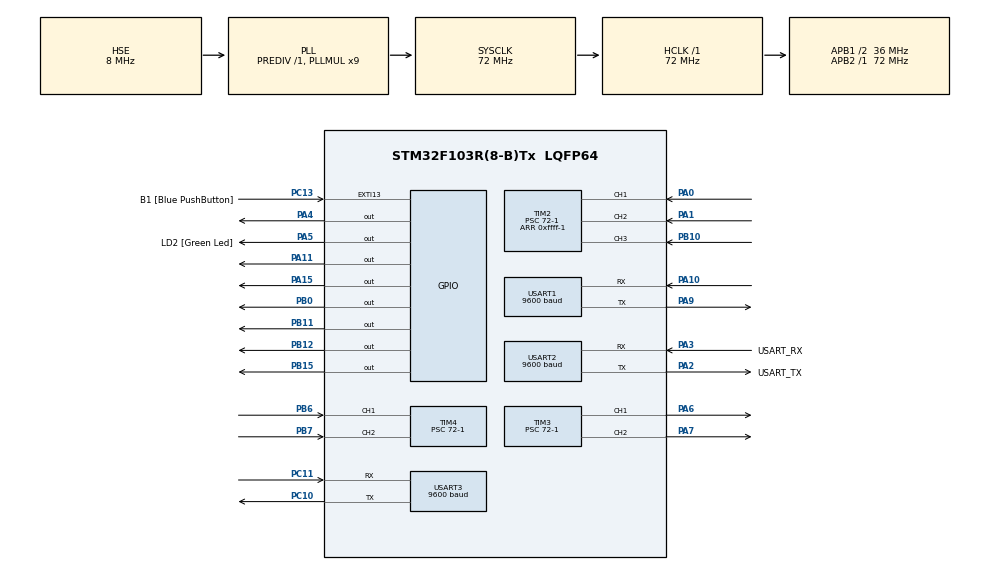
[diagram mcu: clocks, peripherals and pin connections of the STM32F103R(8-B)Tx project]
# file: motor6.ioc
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Mcu.Family=STM32F1
Mcu.Name=STM32F103R(8-B)Tx
Mcu.Package=LQFP64
NVIC.EXTI15_10_IRQn=true\:0\:0\:false\:false\:true\:true\:true\:true
NVIC.PriorityGroup=NVIC_PRIORITYGROUP_4
NVIC.TIM1_UP_IRQn=true\:0\:0\:false\:false\:true\:true\:true\:true
NVIC.TIM2_IRQn=true\:0\:0\:false\:false\:true\:true\:true\:true
NVIC.TIM4_IRQn=true\:0\:0\:false\:false\:true\:true\:true\:true
NVIC.USART1_IRQn=true\:0\:0\:false\:false\:true\:true\:true\:true
NVIC.USART2_IRQn=true\:0\:0\:false\:false\:true\:true\:true\:true
NVIC.USART3_IRQn=true\:0\:0\:false\:false\:true\:true\:true\:true
PA0-WKUP.Signal=S_TIM2_CH1_ETR
PA1.Signal=S_TIM2_CH2
PA10.Mode=Asynchronous
PA10.Signal=USART1_RX
PA11.Signal=GPIO_Output
PA13.GPIO_Label=TMS
PA13.Mode=Serial_Wire
PA13.Signal=SYS_JTMS-SWDIO
PA14.GPIO_Label=TCK
PA14.Mode=Serial_Wire
PA14.Signal=SYS_JTCK-SWCLK
PA15.Signal=GPIO_Output
PA2.GPIO_Label=USART_TX
PA2.GPIO_Mode=GPIO_MODE_AF_PP
PA2.GPIO_PuPd=GPIO_NOPULL
PA2.GPIO_Speed=GPIO_SPEED_FREQ_LOW
PA2.Mode=Asynchronous
PA2.Signal=USART2_TX
PA3.GPIO_Label=USART_RX
PA3.GPIO_Mode=GPIO_MODE_AF_PP
PA3.GPIO_PuPd=GPIO_NOPULL
PA3.GPIO_Speed=GPIO_SPEED_FREQ_LOW
PA3.Mode=Asynchronous
PA3.Signal=USART2_RX
PA4.Signal=GPIO_Output
PA5.GPIO_Label=LD2 [Green Led]
PA5.GPIO_ModeDefaultOutputPP=GPIO_MODE_OUTPUT_PP
PA5.GPIO_PuPd=GPIO_NOPULL
PA5.GPIO_Speed=GPIO_SPEED_FREQ_LOW
PA5.Signal=GPIO_Output
PA6.Signal=S_TIM3_CH1
PA7.Signal=S_TIM3_CH2
PA9.Mode=Asynchronous
PA9.Signal=USART1_TX
PB0.Signal=GPIO_Output
PB10.Signal=S_TIM2_CH3
PB11.Signal=GPIO_Output
PB12.Signal=GPIO_Output
PB15.Signal=GPIO_Output
PB3.GPIO_Label=SWO
PB3.Signal=SYS_JTDO-TRACESWO
PB6.Signal=S_TIM4_CH1
PB7.Signal=S_TIM4_CH2
PC10.Mode=Asynchronous
PC10.Signal=USART3_TX
PC11.Mode=Asynchronous
PC11.Signal=USART3_RX
PC13-TAMPER-RTC.GPIO_Label=B1 [Blue PushButton]
PC13-TAMPER-RTC.GPIO_PuPd=GPIO_NOPULL
PC13-TAMPER-RTC.Signal=GPXTI13
PC14-OSC32_IN.Mode=LSE-External-Oscillator
PC14-OSC32_IN.Signal=RCC_OSC32_IN
PC15-OSC32_OUT.Mode=LSE-External-Oscillator
PC15-OSC32_OUT.Signal=RCC_OSC32_OUT
PD0-OSC_IN.Mode=HSE-External-Clock-Source
PD0-OSC_IN.Signal=RCC_OSC_IN
PD1-OSC_OUT.Mode=HSE-External-Clock-Source
PD1-OSC_OUT.Signal=RCC_OSC_OUT
ProjectManager.HeapSize=0x200
ProjectManager.StackSize=0x400
ProjectManager.TargetToolchain=STM32CubeIDE
RCC.AHBFreq_Value=72000000
RCC.APB1CLKDivider=RCC_HCLK_DIV2
RCC.APB1Freq_Value=36000000
RCC.APB1TimFreq_Value=72000000
RCC.APB2Freq_Value=72000000
RCC.APB2TimFreq_Value=72000000
RCC.HCLKFreq_Value=72000000
RCC.PLLMUL=RCC_PLL_MUL9
RCC.PLLSourceVirtual=RCC_PLLSOURCE_HSE
RCC.RTCClockSelection=RCC_RTCCLKSOURCE_LSE
RCC.SYSCLKFreq_VALUE=72000000
RCC.SYSCLKSource=RCC_SYSCLKSOURCE_PLLCLK
RCC.USBFreq_Value=72000000
SH.S_TIM2_CH1_ETR.0=TIM2_CH1,Input_Capture1_from_TI1
SH.S_TIM2_CH2.0=TIM2_CH2,Input_Capture2_from_TI2
SH.S_TIM2_CH3.0=TIM2_CH3,Input_Capture3_from_TI3
SH.S_TIM3_CH1.0=TIM3_CH1,PWM Generation1 CH1
SH.S_TIM3_CH2.0=TIM3_CH2,PWM Generation2 CH2
SH.S_TIM4_CH1.0=TIM4_CH1,Input_Capture1_from_TI1
SH.S_TIM4_CH2.0=TIM4_CH2,Input_Capture2_from_TI2
TIM1.Period=100-1
TIM1.Prescaler=72-1
TIM2.Channel-Input_Capture1_from_TI1=TIM_CHANNEL_1
TIM2.Channel-Input_Capture2_from_TI2=TIM_CHANNEL_2
TIM2.Channel-Input_Capture3_from_TI3=TIM_CHANNEL_3
TIM2.Period=0xffff-1
TIM2.Prescaler=72-1
TIM3.Channel-PWM\ Generation1\ CH1=TIM_CHANNEL_1
TIM3.Channel-PWM\ Generation2\ CH2=TIM_CHANNEL_2
TIM3.Period=100-1
TIM3.Prescaler=72-1
TIM4.Channel-Input_Capture1_from_TI1=TIM_CHANNEL_1
TIM4.Channel-Input_Capture2_from_TI2=TIM_CHANNEL_2
TIM4.Period=0xffff-1
TIM4.Prescaler=72-1
USART1.BaudRate=9600
USART1.VirtualMode=VM_ASYNC
USART2.BaudRate=9600
USART2.VirtualMode=VM_ASYNC
USART3.BaudRate=9600
USART3.VirtualMode=VM_ASYNC
VP_TIM1_VS_ClockSourceINT.Mode=Internal
VP_TIM2_VS_ClockSourceINT.Mode=Internal
VP_TIM3_VS_ClockSourceINT.Mode=Internal
VP_TIM4_VS_ClockSourceINT.Mode=Internal
board=NUCLEO-F103RB

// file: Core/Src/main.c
/* USER CODE BEGIN Header */
/**
  ******************************************************************************
  * @file           : main.c
  * @brief          : Main program body
  ******************************************************************************
  * @attention
  *
  * Copyright (c) 2025 STMicroelectronics.
  * All rights reserved.
  *
  * This software is licensed under terms that can be found in the LICENSE file
  * in the root directory of this software component.
  * If no LICENSE file comes with this software, it is provided AS-IS.
  *
  ******************************************************************************
  */
/* USER CODE END Header */
#include "main.h"
#include "tim.h"
#include "usart.h"
#include "gpio.h"

/* USER CODE BEGIN PV */
uint32_t IC_Val1 = 0;
uint32_t IC_Val2 = 0;
uint32_t IC_Val3 = 0;
uint32_t IC_Val4 = 0;
uint32_t IC_Val5 = 0;
uint32_t IC_Val6 = 0;
uint32_t IC_Val7 = 0;
uint32_t IC_Val8 = 0;
uint32_t IC_Val9 = 0;
uint32_t IC_Val10 = 0;
uint32_t Difference1 = 0;
uint32_t Difference2 = 0;
uint32_t Difference3 = 0;
uint32_t Difference4 = 0;
uint32_t Difference5 = 0;
uint8_t Is_First_Captured1 = 0;
uint8_t Is_First_Captured2 = 0;
uint8_t Is_First_Captured3 = 0;
uint8_t Is_First_Captured4 = 0;
uint8_t Is_First_Captured5 = 0;
uint16_t Distance1  = 0;
uint16_t Distance2 = 0;
uint16_t Distance3 = 0;
uint16_t Distance4 = 0;
uint16_t Distance5 = 0;

uint8_t sensor_part1 = 0;
uint8_t sensor_part2 = 0;
uint8_t sensor_part3 = 0;
uint8_t sensor_part4 = 0;
uint8_t sensor_part5 = 0;
uint32_t delay_count = 0;
uint32_t ultra_count = 0;
uint8_t ultra_delay1 = 0;
uint8_t ultra_delay2 = 0;
uint8_t ultra_delay3 = 0;
uint8_t ultra_delay4 = 0;
uint8_t ultra_delay5 = 0;

char uart_buf[8];
char re_data[8];
char uwb_buf[4];
char fe_data[5];
float uwb_data;
int x_data, y_data;
float w_L, w_R;
uint32_t PWM1_value, PWM2_value;

double dis_test;

float r = 0.0575;
float b = 0.257;
float dis, theta, V, W;
float K_v = 2;
float K_w = 2;

#define PI 3.1415926535

#define RX_BUF_SIZE 16

uint8_t rx_byte;
char rx_buf[5];
uint8_t rx_index = 0;
volatile uint8_t rx_flag = 0;
int rx_theta;
/* USER CODE END PV */

void SystemClock_Config(void);

/* USER CODE BEGIN 0 */
void HAL_TIM_PeriodElapsedCallback(TIM_HandleTypeDef *htim) {
	if (htim->Instance == TIM1) {
		if (ultra_delay1 == 1) {
			if (ultra_count >= 10) {
				HAL_GPIO_WritePin(GPIOA, GPIO_PIN_4, GPIO_PIN_RESET);
				__HAL_TIM_ENABLE_IT(&htim2, TIM_IT_CC1);
				ultra_count = 0;
				ultra_delay1 = 0;
			}
			else {
				ultra_count++;
			}
		}
		else if (ultra_delay2 == 1) {
			if (ultra_count >= 10) {
				HAL_GPIO_WritePin(GPIOB, GPIO_PIN_0, GPIO_PIN_RESET);
				__HAL_TIM_ENABLE_IT(&htim2, TIM_IT_CC2);
				ultra_count = 0;
				ultra_delay2 = 0;
			}
			else {
				ultra_count++;
			}
		}
		else if (ultra_delay3 == 1) {
			if (ultra_count >= 10) {
				HAL_GPIO_WritePin(GPIOB, GPIO_PIN_15, GPIO_PIN_RESET);
				__HAL_TIM_ENABLE_IT(&htim2, TIM_IT_CC3);
				ultra_count = 0;
				ultra_delay3 = 0;
			}
			else {
				ultra_count++;
			}
		}
		else if (ultra_delay4 == 1) {
			if (ultra_count >= 10) {
				HAL_GPIO_WritePin(GPIOB, GPIO_PIN_11, GPIO_PIN_RESET);
				__HAL_TIM_ENABLE_IT(&htim4, TIM_IT_CC1);
				ultra_count = 0;
				ultra_delay4 = 0;
			}
			else {
				ultra_count++;
			}
		}
		else if (ultra_delay5 == 1) {
			if (ultra_count >= 10) {
				HAL_GPIO_WritePin(GPIOA, GPIO_PIN_15, GPIO_PIN_RESET);
				__HAL_TIM_ENABLE_IT(&htim4, TIM_IT_CC2);
				ultra_count = 0;
				ultra_delay5 = 0;
			}
			else {
				ultra_count++;
			}
		}
		else if (sensor_part2 == 1) {
			delay_count++;
		}
		else if (sensor_part1 == 1) {
			delay_count++;
		}
		else if (sensor_part3 == 1) {
			delay_count++;
		}
		else if (sensor_part4 == 1) {
			delay_count++;
		}
		else if (sensor_part5 == 1) {
			delay_count++;
		}
	}
}

void HAL_TIM_IC_CaptureCallback(TIM_HandleTypeDef *htim)
{
	if (htim->Instance == TIM2) {
		if (htim->Channel == HAL_TIM_ACTIVE_CHANNEL_1)
		{
			if (Is_First_Captured1==0)
			{
				IC_Val1 = HAL_TIM_ReadCapturedValue(htim, TIM_CHANNEL_1);
				Is_First_Captured1 = 1;

				__HAL_TIM_SET_CAPTUREPOLARITY(htim, TIM_CHANNEL_1, TIM_INPUTCHANNELPOLARITY_FALLING);
			}

			else if (Is_First_Captured1==1)
			{
				IC_Val2 = HAL_TIM_ReadCapturedValue(htim, TIM_CHANNEL_1);
				__HAL_TIM_SET_COUNTER(htim, 0);

				if (IC_Val2 > IC_Val1)
				{
					Difference1 = IC_Val2-IC_Val1;
				}

				else if (IC_Val1 > IC_Val2)
				{
					Difference1 = (0xffff - IC_Val1) + IC_Val2;
				}

				Distance1 = Difference1 * .034/2;
				Is_First_Captured1 = 0;

				__HAL_TIM_SET_CAPTUREPOLARITY(htim, TIM_CHANNEL_1, TIM_INPUTCHANNELPOLARITY_RISING);
				__HAL_TIM_DISABLE_IT(&htim2, TIM_IT_CC1);
			}
		}

		if (htim->Channel == HAL_TIM_ACTIVE_CHANNEL_2)
		{
			if (Is_First_Captured2==0)
			{
				IC_Val3 = HAL_TIM_ReadCapturedValue(htim, TIM_CHANNEL_2);
				Is_First_Captured2 = 1;

				__HAL_TIM_SET_CAPTUREPOLARITY(htim, TIM_CHANNEL_2, TIM_INPUTCHANNELPOLARITY_FALLING);
			}

			else if (Is_First_Captured2==1)
			{
				IC_Val4 = HAL_TIM_ReadCapturedValue(htim, TIM_CHANNEL_2);
				__HAL_TIM_SET_COUNTER(htim, 0);

				if (IC_Val4 > IC_Val3)
				{
					Difference2 = IC_Val4 - IC_Val3;
				}

				else if (IC_Val3 > IC_Val4)
				{
					Difference2 = (0xffff - IC_Val3) + IC_Val4;
				}

				Distance2 = Difference2 * .034/2;
				Is_First_Captured2 = 0;

				__HAL_TIM_SET_CAPTUREPOLARITY(htim, TIM_CHANNEL_2, TIM_INPUTCHANNELPOLARITY_RISING);
				__HAL_TIM_DISABLE_IT(&htim2, TIM_IT_CC2);
			}
		}

		if (htim->Channel == HAL_TIM_ACTIVE_CHANNEL_3)
		{
			if (Is_First_Captured3==0)
			{
				IC_Val5 = HAL_TIM_ReadCapturedValue(htim, TIM_CHANNEL_3);
				Is_First_Captured3 = 1;

				__HAL_TIM_SET_CAPTUREPOLARITY(htim, TIM_CHANNEL_3, TIM_INPUTCHANNELPOLARITY_FALLING);
			}

			else if (Is_First_Captured3==1)
			{
				IC_Val6 = HAL_TIM_ReadCapturedValue(htim, TIM_CHANNEL_3);
				__HAL_TIM_SET_COUNTER(htim, 0);

				if (IC_Val6 > IC_Val5)
				{
					Difference3 = IC_Val6 - IC_Val5;
				}

				else if (IC_Val5 > IC_Val6)
				{
					Difference3 = (0xffff - IC_Val5) + IC_Val6;
				}

				Distance3 = Difference3 * .034/2;
				Is_First_Captured3 = 0;

				__HAL_TIM_SET_CAPTUREPOLARITY(htim, TIM_CHANNEL_3, TIM_INPUTCHANNELPOLARITY_RISING);
				__HAL_TIM_DISABLE_IT(&htim2, TIM_IT_CC3);
			}
		}
	}
	else if (htim->Instance == TIM4) {
		if (htim->Channel == HAL_TIM_ACTIVE_CHANNEL_1)
		{
			if (Is_First_Captured4==0)
			{
				IC_Val7 = HAL_TIM_ReadCapturedValue(htim, TIM_CHANNEL_1);
				Is_First_Captured4 = 1;

				__HAL_TIM_SET_CAPTUREPOLARITY(htim, TIM_CHANNEL_1, TIM_INPUTCHANNELPOLARITY_FALLING);
			}

			else if (Is_First_Captured4==1)
			{
				IC_Val8 = HAL_TIM_ReadCapturedValue(htim, TIM_CHANNEL_1);
				__HAL_TIM_SET_COUNTER(htim, 0);

				if (IC_Val8 > IC_Val7)
				{
					Difference4 = IC_Val8 - IC_Val7;
				}

				else if (IC_Val7 > IC_Val8)
				{
					Difference4 = (0xffff - IC_Val7) + IC_Val8;
				}

				Distance4 = Difference4 * .034/2;
				Is_First_Captured4 = 0;

				__HAL_TIM_SET_CAPTUREPOLARITY(htim, TIM_CHANNEL_1, TIM_INPUTCHANNELPOLARITY_RISING);
				__HAL_TIM_DISABLE_IT(&htim4, TIM_IT_CC1);
			}
		}

		if (htim->Channel == HAL_TIM_ACTIVE_CHANNEL_2)
		{
			if (Is_First_Captured5==0)
			{
				IC_Val9 = HAL_TIM_ReadCapturedValue(htim, TIM_CHANNEL_2);
				Is_First_Captured5 = 1;

				__HAL_TIM_SET_CAPTUREPOLARITY(htim, TIM_CHANNEL_2, TIM_INPUTCHANNELPOLARITY_FALLING);
			}

			else if (Is_First_Captured5==1)
			{
				IC_Val10 = HAL_TIM_ReadCapturedValue(htim, TIM_CHANNEL_2);
				__HAL_TIM_SET_COUNTER(htim, 0);

				if (IC_Val10 > IC_Val9)
				{
					Difference5 = IC_Val10 - IC_Val9;
				}

				else if (IC_Val9 > IC_Val10)
				{
					Difference5 = (0xffff - IC_Val9) + IC_Val10;
				}

				Distance5 = Difference5 * .034/2;
				Is_First_Captured5 = 0;

				__HAL_TIM_SET_CAPTUREPOLARITY(htim, TIM_CHANNEL_2, TIM_INPUTCHANNELPOLARITY_RISING);
				__HAL_TIM_DISABLE_IT(&htim4, TIM_IT_CC2);
			}
		}
	}
}

void HAL_UART_RxCpltCallback(UART_HandleTypeDef *huart) {
	if (huart -> Instance == USART1) {
		for (int i = 0; i < 4; i++) {
			if (uwb_buf[(i + 1) % 4] == '.') {
				for (int j = 0; j < 4; j++) {
					fe_data[j] = uwb_buf[(i + j) % 4];
				}
			}
		}

		fe_data[4] = '\0';

		sscanf(fe_data, "%f", &dis);

		dis = roundf(dis * 100) / 100;

		HAL_UART_Receive_IT(&huart1, &uwb_buf, 4);
	}

    if (huart->Instance == USART3) {
		if (rx_byte == '/') {
			rx_buf[rx_index] = rx_byte;
			rx_buf[rx_index + 1] = '\0';
			rx_flag = 1;
			rx_index = 0;
		} else {
			if (rx_index < RX_BUF_SIZE - 1) {
				rx_buf[rx_index++] = rx_byte;
			} else {
				rx_index = 0;
			}
		}
		HAL_UART_Receive_IT(&huart3, &rx_byte, 1);
    }
}

void HCSR04_Read1 (void)
{
	HAL_GPIO_WritePin(GPIOA, GPIO_PIN_4, GPIO_PIN_SET);
	delay_count = 0;
	ultra_delay1 = 1;
}

void HCSR04_Read2 (void)
{
	HAL_GPIO_WritePin(GPIOB, GPIO_PIN_0, GPIO_PIN_SET);
	delay_count = 0;
	ultra_delay2 = 1;
}

void HCSR04_Read3 (void)
{
	HAL_GPIO_WritePin(GPIOB, GPIO_PIN_15, GPIO_PIN_SET);
	delay_count = 0;
	ultra_delay3 = 1;
}
void HCSR04_Read4 (void)
{
	HAL_GPIO_WritePin(GPIOB, GPIO_PIN_11, GPIO_PIN_SET);
	delay_count = 0;
	ultra_delay4 = 1;
}
void HCSR04_Read5 (void)
{
	HAL_GPIO_WritePin(GPIOA, GPIO_PIN_15, GPIO_PIN_SET);
	delay_count = 0;
	ultra_delay5 = 1;
}
/* USER CODE END 0 */

int main(void)
{

  /* MCU Configuration--------------------------------------------------------*/

  /* Reset of all peripherals, Initializes the Flash interface and the Systick. */
  HAL_Init();

  /* Configure the system clock */
  SystemClock_Config();

  /* Initialize all configured peripherals */
  MX_GPIO_Init();
  MX_USART2_UART_Init();
  MX_TIM3_Init();
  MX_USART1_UART_Init();
  MX_TIM1_Init();
  MX_TIM2_Init();
  MX_TIM4_Init();
  MX_USART3_UART_Init();
  /* USER CODE BEGIN 2 */
/*  HAL_TIM_IC_Start_IT(&htim2, TIM_CHANNEL_1);
  HAL_TIM_IC_Start_IT(&htim2, TIM_CHANNEL_2);
  HAL_TIM_IC_Start_IT(&htim2, TIM_CHANNEL_3);
  HAL_TIM_IC_Start_IT(&htim4, TIM_CHANNEL_1);
  HAL_TIM_IC_Start_IT(&htim4, TIM_CHANNEL_2);
  HAL_TIM_Base_Start_IT(&htim1);

  sensor_part5 = 1;*/

  HAL_TIM_PWM_Start(&htim3, TIM_CHANNEL_1);
  HAL_TIM_PWM_Start(&htim3, TIM_CHANNEL_2);

  HAL_UART_Receive_IT(&huart1, &uwb_buf, 4);
  HAL_UART_Receive_IT(&huart3, &rx_byte, 1);
  /* USER CODE END 2 */

  /* Infinite loop */
  /* USER CODE BEGIN WHILE */
  while (1)
  {
/*	  if (sensor_part5 == 1 && delay_count >= 300) {
		  sensor_part5 = 0;
		  HCSR04_Read1();
		  sensor_part1 = 1;
	  }

	  if (sensor_part1 == 1 && delay_count >= 300) {
		  sensor_part1 = 0;
		  HCSR04_Read2();
		  sensor_part2 = 1;
	  }

	  if (sensor_part2 == 1 && delay_count >= 300) {
		  sensor_part2 = 0;
		  HCSR04_Read3();
		  sensor_part3 = 1;
	  }
	  if (sensor_part3 == 1 && delay_count >= 300) {
		  sensor_part3 = 0;
		  HCSR04_Read4();
		  sensor_part4 = 1;
	  }
	  if (sensor_part4 == 1 && delay_count >= 300) {
		  sensor_part4 = 0;
		  HCSR04_Read5();
		  sensor_part5 = 1;
	  }

	  if (Distance1 < 10 || Distance2 < 10 || Distance3 < 10 || Distance4 < 10 || Distance5 < 10) {
		  HAL_GPIO_WritePin(GPIOA, GPIO_PIN_5, GPIO_PIN_SET);
	  }
	  else {
		  HAL_GPIO_WritePin(GPIOA, GPIO_PIN_5, GPIO_PIN_RESET);
	  }*/

	  if (rx_flag) {
	      rx_flag = 0;

	      sscanf(rx_buf, "%d/", &rx_theta);
	  }

	  if (dis > 1.00) {
		  dis = 1.00;
	  }

	  theta = -(rx_theta);

	  if (theta > -10 && theta < 10) {
		  theta = 0;
	  }

	  V = K_v * (dis - 0.8);
	  W = K_w * theta * PI / 180;

	  w_L = (V - W * b / 2) / r;
	  w_R = (V + W * b / 2) / r;

	  PWM1_value = w_L / 26.28 * 100;
	  PWM2_value = w_R / 26.28 * 100;

	  if (PWM1_value > 100) {
	    	PWM1_value = 100;
	  }
	  if (PWM2_value > 100) {
		  PWM2_value = 100;
	  }

	  if (V >= 0) {
		  HAL_GPIO_WritePin(GPIOA, GPIO_PIN_11, 1);
		  HAL_GPIO_WritePin(GPIOB, GPIO_PIN_12, 1);
		  __HAL_TIM_SET_COMPARE(&htim3,TIM_CHANNEL_2, PWM1_value);
		  __HAL_TIM_SET_COMPARE(&htim3,TIM_CHANNEL_1, PWM2_value);
	  }
	  else if (V < 0) {
/*		  HAL_GPIO_WritePin(GPIOA, GPIO_PIN_11, 0);
		  HAL_GPIO_WritePin(GPIOB, GPIO_PIN_12, 0);
		  __HAL_TIM_SET_COMPARE(&htim3,TIM_CHANNEL_2, PWM1_value);
		  __HAL_TIM_SET_COMPARE(&htim3,TIM_CHANNEL_1, PWM2_value);*/
		  __HAL_TIM_SET_COMPARE(&htim3,TIM_CHANNEL_2, 0);
		  __HAL_TIM_SET_COMPARE(&htim3,TIM_CHANNEL_1, 0);
	  }
    /* USER CODE END WHILE */

  }
}

void SystemClock_Config(void)
{
  RCC_OscInitTypeDef RCC_OscInitStruct = {0};
  RCC_ClkInitTypeDef RCC_ClkInitStruct = {0};

  /** Initializes the RCC Oscillators according to the specified parameters
  * in the RCC_OscInitTypeDef structure.
  */
  RCC_OscInitStruct.OscillatorType = RCC_OSCILLATORTYPE_HSE;
  RCC_OscInitStruct.HSEState = RCC_HSE_BYPASS;
  RCC_OscInitStruct.HSEPredivValue = RCC_HSE_PREDIV_DIV1;
  RCC_OscInitStruct.HSIState = RCC_HSI_ON;
  RCC_OscInitStruct.PLL.PLLState = RCC_PLL_ON;
  RCC_OscInitStruct.PLL.PLLSource = RCC_PLLSOURCE_HSE;
  RCC_OscInitStruct.PLL.PLLMUL = RCC_PLL_MUL9;
  if (HAL_RCC_OscConfig(&RCC_OscInitStruct) != HAL_OK)
  {
    Error_Handler();
  }

  /** Initializes the CPU, AHB and APB buses clocks
  */
  RCC_ClkInitStruct.ClockType = RCC_CLOCKTYPE_HCLK|RCC_CLOCKTYPE_SYSCLK
                              |RCC_CLOCKTYPE_PCLK1|RCC_CLOCKTYPE_PCLK2;
  RCC_ClkInitStruct.SYSCLKSource = RCC_SYSCLKSOURCE_PLLCLK;
  RCC_ClkInitStruct.AHBCLKDivider = RCC_SYSCLK_DIV1;
  RCC_ClkInitStruct.APB1CLKDivider = RCC_HCLK_DIV2;
  RCC_ClkInitStruct.APB2CLKDivider = RCC_HCLK_DIV1;

  if (HAL_RCC_ClockConfig(&RCC_ClkInitStruct, FLASH_LATENCY_2) != HAL_OK)
  {
    Error_Handler();
  }
}

void Error_Handler(void)
{
  __disable_irq();
  while (1)
  {
  }
}
